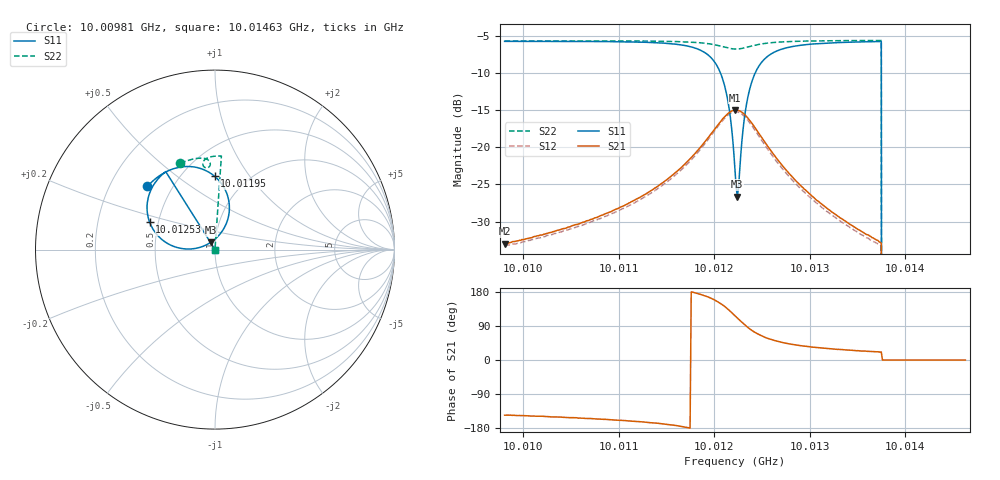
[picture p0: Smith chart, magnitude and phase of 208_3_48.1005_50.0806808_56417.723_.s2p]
#  HZ  S  RI  R  50.00
! Rohde & Schwarz Vector Network Analyzer
! Rohde-Schwarz,ZNB20-2Port,1311601062101988,3.16
! Created: UTC 12/23/2023, 3:55:28 AM
! freq[Hz]  re:S11  im:S11  re:S21  im:S21  re:S12  im:S12  re:S22  im:S22
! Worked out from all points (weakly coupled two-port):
!   401 points, 10.00981 GHz to 10.01463 GHz, reference 50 ohm
!   highest |S21| = -14.99 dB at 10.01222 GHz (marker M1); lowest = -32.9 dB at 10.00981 GHz (marker M2)
!   lowest |S11| = -26.6 dB at 10.01224 GHz (marker M3), VSWR 1.10, Z = 47.4 + j3.77 ohm
!   |S11| at or under -10 dB: 10.01207 GHz to 10.01243 GHz (364.3 kHz wide, 0.00364 % of centre); 10.01375 GHz to end of sweep
!   |S22| runs from - to -5.6 dB; largest |S21 - S12| = 0.0088
!   S11 on the Smith chart (normalised r, x): 10.00981 GHz: 0.36, +0.35; 10.01195 GHz: 0.71, +0.70; 10.01253 GHz: 0.45, +0.16; 10.01463 GHz: 1.00, +0.00
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1.0009807e10  -0.3763 0.3525  -0.0186 -0.0127  -0.017 -0.0134  -0.1935 0.481
1.0010615e10  -0.3208 0.4031  -0.0279 -0.0138  -0.026 -0.0145  -0.1423 0.4992
1.0011073e10  -0.2736 0.433  -0.0386 -0.0141  -0.0365 -0.0153  -0.1105 0.5065
1.0011423e10  -0.2164 0.4549  -0.0541 -0.0121  -0.0514 -0.0145  -0.0836 0.5098
1.0011772e10  -0.1064 0.4587  -0.0868 0.00125  -0.0839 -0.00284  -0.0517 0.5062
1.0011953e10  -0.00227 0.4087  -0.1156 0.0318  -0.1136 0.0246  -0.0332 0.4946
1.001205e10  0.0588 0.3291  -0.1272 0.0682  -0.1277 0.0599  -0.0268 0.4815
1.0012122e10  0.0801 0.2267  -0.1233 0.1074  -0.1249 0.0997  -0.0277 0.4686
1.001217e10  0.0631 0.1453  -0.1074 0.136  -0.1111 0.128  -0.0333 0.4604
1.0012218e10  0.0124 0.0693  -0.0802 0.1589  -0.0845 0.1518  -0.0424 0.4558
1.0012243e10  -0.0247 0.0396  -0.0633 0.1659  -0.0674 0.1594  -0.0478 0.4553
1.0012267e10  -0.0664 0.0184  -0.046 0.1695  -0.0504 0.1633  -0.053 0.4563
1.0012315e10  -0.1538 0.003  -0.0119 0.1667  -0.0166 0.161  -0.0616 0.4616
1.0012363e10  -0.2319 0.0185  0.0163 0.1535  0.0111 0.1486  -0.0666 0.4698
1.0012436e10  -0.3135 0.0724  0.0418 0.1265  0.0357 0.1229  -0.0676 0.4824
1.0012532e10  -0.364 0.1522  0.0543 0.0935  0.0483 0.0912  -0.0619 0.4955
1.0012737e10  -0.3758 0.2699  0.0513 0.0511  0.0466 0.0509  -0.0434 0.5104
1.0013026e10  -0.3464 0.3528  0.0388 0.0262  0.0358 0.0269  -0.0183 0.5183
1.0013726e10  -0.2768 0.433  0.0216 0.00848  0.0202 0.0092  0.0339 0.5216
1.0013786e10  0 0  0 0  0 0  0 0
1.0013834e10  0 0  0 0  0 0  0 0
1.001463e10  0 0  0 0  0 0  0 0
